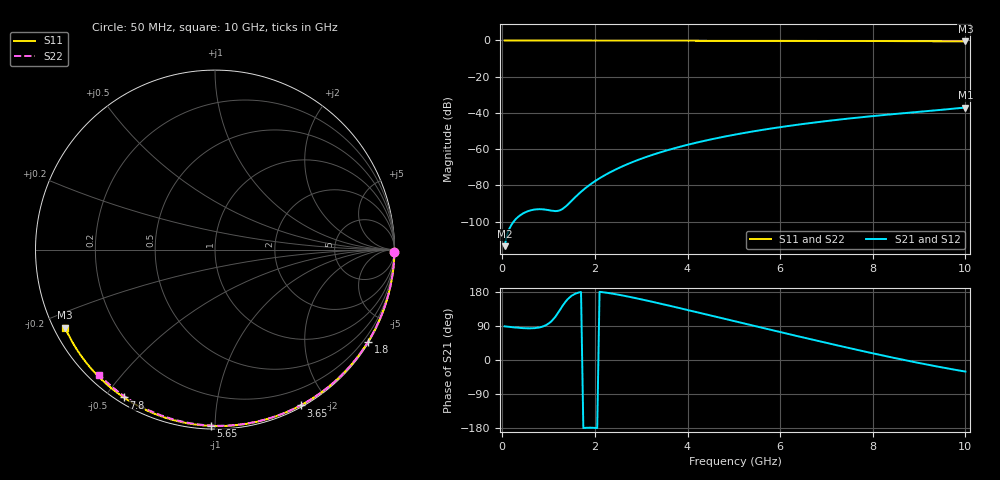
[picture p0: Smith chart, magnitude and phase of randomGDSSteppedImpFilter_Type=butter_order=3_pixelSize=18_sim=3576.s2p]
! freq	dB(S11)	phase(S11)	dB(S12)	phase(S12)
!  dB(S21)	phase(S21)	dB(S22)	phase(S22)
!S-par simulation data
#  GHz  S  DB  R 50
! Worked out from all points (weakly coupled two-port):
!   200 points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, 50 MHz to 10 GHz, reference 50 ohm
!   highest |S21| = -37.01 dB at 10 GHz (marker M1); lowest = -113.5 dB at 50 MHz (marker M2)
!   lowest |S11| = -0.5 dB at 10 GHz (marker M3), VSWR 33.19, Z = 1.6 - j12.2 ohm
!   |S11| at or under -10 dB: nowhere
!   |S22| runs from -0.5 to 0.0 dB; largest |S21 - S12| = 0
!   S11 on the Smith chart (normalised r, x): 50 MHz: open; 1.8 GHz: 0.03, -3.61; 3.65 GHz: 0.02, -1.69; 5.65 GHz: 0.02, -0.97; 7.8 GHz: 0.02, -0.56; 10 GHz: 0.03, -0.24
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0.05  -0.00 -0.9  -113.48 88.9  -113.48 88.9  -0.00 -0.8
0.45  -0.01 -7.9  -95.39 84.1  -95.39 84.1  -0.01 -6.8
0.9  -0.02 -15.7  -93.21 89.5  -93.21 89.5  -0.02 -13.6
1.75  -0.04 -30.2  -82.41 -179.6  -82.41 -179.6  -0.03 -26.3
1.8  -0.04 -31.0  -81.36 -179.0  -81.36 -179.0  -0.03 -27.0
1.85  -0.04 -31.8  -80.38 -178.7  -80.38 -178.7  -0.04 -27.7
1.9  -0.04 -32.7  -79.43 -178.6  -79.43 -178.6  -0.04 -28.5
2.2  -0.05 -37.7  -74.52 178.4  -74.52 178.4  -0.04 -32.8
2.4  -0.05 -41.0  -71.78 174.7  -71.78 174.7  -0.05 -35.7
2.6  -0.06 -44.3  -69.37 170.2  -69.37 170.2  -0.05 -38.6
3  -0.07 -50.8  -65.25 160.1  -65.25 160.1  -0.06 -44.3
3.4  -0.08 -57.3  -61.82 149.2  -61.82 149.2  -0.07 -50.0
3.65  -0.08 -61.2  -59.94 142.1  -59.94 142.1  -0.07 -53.5
4.3  -0.10 -71.3  -55.74 123.3  -55.74 123.3  -0.09 -62.4
5.05  -0.13 -82.6  -51.81 101.4  -51.81 101.4  -0.11 -72.4
5.65  -0.15 -91.5  -49.19 83.9  -49.19 83.9  -0.13 -80.1
6.15  -0.18 -98.6  -47.28 69.4  -47.28 69.4  -0.15 -86.5
6.7  -0.21 -106.4  -45.40 53.7  -45.40 53.7  -0.18 -93.3
7.8  -0.28 -121.7  -42.23 23.0  -42.23 23.0  -0.25 -106.6
8.35  -0.33 -129.2  -40.86 8.4  -40.86 8.4  -0.29 -113.1
9.2  -0.42 -141.0  -38.90 -12.7  -38.90 -12.7  -0.36 -123.1
10  -0.52 -152.5  -37.01 -30.6  -37.01 -30.6  -0.45 -132.7
